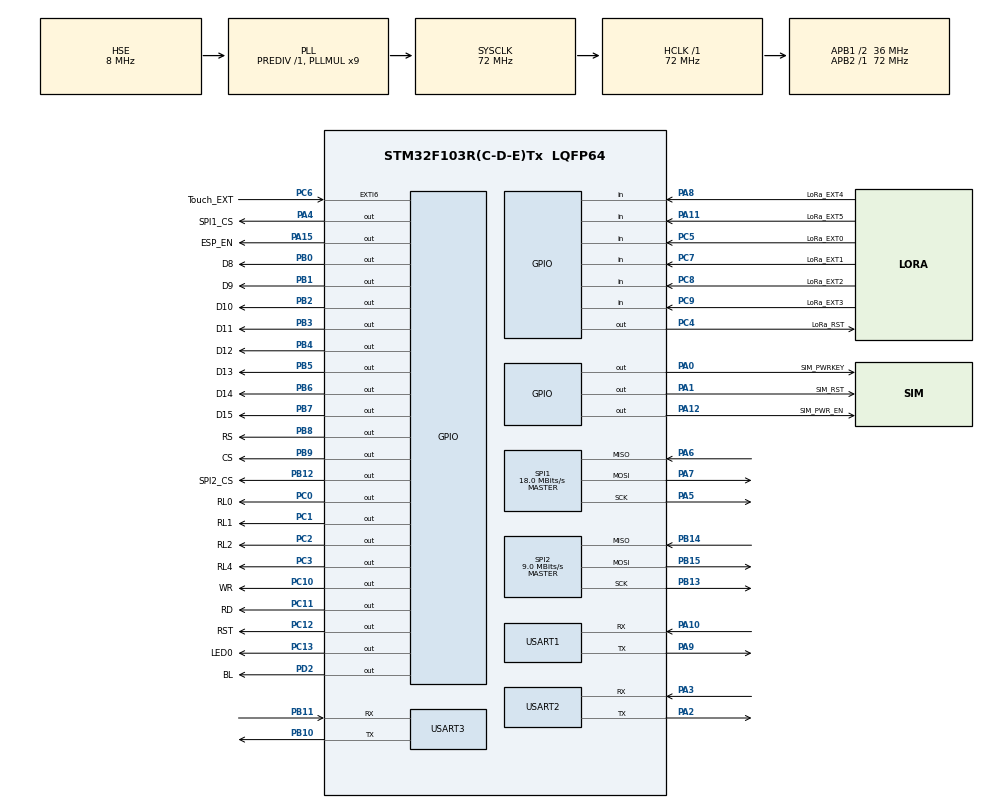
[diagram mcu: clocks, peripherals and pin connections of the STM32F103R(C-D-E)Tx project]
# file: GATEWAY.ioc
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FREERTOS.Tasks01=Task0,24,128,Task0Func,Default,NULL,Dynamic,NULL,NULL
FREERTOS.configUSE_NEWLIB_REENTRANT=0
Mcu.Family=STM32F1
Mcu.Name=STM32F103R(C-D-E)Tx
Mcu.Package=LQFP64
NVIC.EXTI9_5_IRQn=true\:5\:0\:false\:false\:true\:true\:true\:true\:true
NVIC.PriorityGroup=NVIC_PRIORITYGROUP_4
NVIC.SPI1_IRQn=true\:5\:0\:false\:false\:true\:true\:true\:true\:true
NVIC.SPI2_IRQn=true\:5\:0\:false\:false\:true\:true\:true\:true\:true
NVIC.TIM1_UP_IRQn=true\:15\:0\:false\:false\:true\:false\:false\:true\:true
NVIC.TimeBase=TIM1_UP_IRQn
NVIC.TimeBaseIP=TIM1
PA0-WKUP.GPIO_Label=SIM_PWRKEY
PA0-WKUP.Signal=GPIO_Output
PA1.GPIO_Label=SIM_RST
PA1.Signal=GPIO_Output
PA10.Mode=Asynchronous
PA10.Signal=USART1_RX
PA11.GPIO_Label=LoRa_EXT5
PA11.Signal=GPIO_Input
PA12.GPIO_Label=SIM_PWR_EN
PA12.Signal=GPIO_Output
PA13.Mode=Serial_Wire
PA13.Signal=SYS_JTMS-SWDIO
PA14.Mode=Serial_Wire
PA14.Signal=SYS_JTCK-SWCLK
PA15.GPIO_Label=ESP_EN
PA15.Signal=GPIO_Output
PA2.Mode=Asynchronous
PA2.Signal=USART2_TX
PA3.Mode=Asynchronous
PA3.Signal=USART2_RX
PA4.GPIO_Label=SPI1_CS
PA4.GPIO_Speed=GPIO_SPEED_FREQ_HIGH
PA4.Signal=GPIO_Output
PA5.Mode=Full_Duplex_Master
PA5.Signal=SPI1_SCK
PA6.Mode=Full_Duplex_Master
PA6.Signal=SPI1_MISO
PA7.Mode=Full_Duplex_Master
PA7.Signal=SPI1_MOSI
PA8.GPIO_Label=LoRa_EXT4
PA8.Signal=GPIO_Input
PA9.Mode=Asynchronous
PA9.Signal=USART1_TX
PB0.GPIO_Label=D8
PB0.GPIO_Speed=GPIO_SPEED_FREQ_HIGH
PB0.Signal=GPIO_Output
PB1.GPIO_Label=D9
PB1.GPIO_Speed=GPIO_SPEED_FREQ_HIGH
PB1.Signal=GPIO_Output
PB10.Mode=Asynchronous
PB10.Signal=USART3_TX
PB11.Mode=Asynchronous
PB11.Signal=USART3_RX
PB12.GPIO_Label=SPI2_CS
PB12.GPIO_Speed=GPIO_SPEED_FREQ_HIGH
PB12.Signal=GPIO_Output
PB13.Mode=Full_Duplex_Master
PB13.Signal=SPI2_SCK
PB14.Mode=Full_Duplex_Master
PB14.Signal=SPI2_MISO
PB15.Mode=Full_Duplex_Master
PB15.Signal=SPI2_MOSI
PB2.GPIO_Label=D10
PB2.GPIO_Speed=GPIO_SPEED_FREQ_HIGH
PB2.Signal=GPIO_Output
PB3.GPIO_Label=D11
PB3.GPIO_Speed=GPIO_SPEED_FREQ_HIGH
PB3.Signal=GPIO_Output
PB4.GPIO_Label=D12
PB4.GPIO_Speed=GPIO_SPEED_FREQ_HIGH
PB4.Signal=GPIO_Output
PB5.GPIO_Label=D13
PB5.GPIO_Speed=GPIO_SPEED_FREQ_HIGH
PB5.Signal=GPIO_Output
PB6.GPIO_Label=D14
PB6.GPIO_Speed=GPIO_SPEED_FREQ_HIGH
PB6.Signal=GPIO_Output
PB7.GPIO_Label=D15
PB7.GPIO_Speed=GPIO_SPEED_FREQ_HIGH
PB7.Signal=GPIO_Output
PB8.GPIO_Label=RS
PB8.GPIO_Speed=GPIO_SPEED_FREQ_HIGH
PB8.Signal=GPIO_Output
PB9.GPIO_Label=CS
PB9.GPIO_Speed=GPIO_SPEED_FREQ_HIGH
PB9.Signal=GPIO_Output
PC0.GPIO_Label=RL0
PC0.GPIO_Speed=GPIO_SPEED_FREQ_LOW
PC0.Signal=GPIO_Output
PC1.GPIO_Label=RL1
PC1.Signal=GPIO_Output
PC10.GPIO_Label=WR
PC10.GPIO_Speed=GPIO_SPEED_FREQ_HIGH
PC10.Signal=GPIO_Output
PC11.GPIO_Label=RD
PC11.GPIO_Speed=GPIO_SPEED_FREQ_HIGH
PC11.Signal=GPIO_Output
PC12.GPIO_Label=RST
PC12.GPIO_Speed=GPIO_SPEED_FREQ_HIGH
PC12.Signal=GPIO_Output
PC13-TAMPER-RTC.GPIO_Label=LED0
PC13-TAMPER-RTC.Signal=GPIO_Output
PC14-OSC32_IN.Mode=LSE-External-Oscillator
PC14-OSC32_IN.Signal=RCC_OSC32_IN
PC15-OSC32_OUT.Mode=LSE-External-Oscillator
PC15-OSC32_OUT.Signal=RCC_OSC32_OUT
PC2.GPIO_Label=RL2
PC2.Signal=GPIO_Output
PC3.GPIO_Label=RL4
PC3.Signal=GPIO_Output
PC4.GPIO_Label=LoRa_RST
PC4.GPIO_Speed=GPIO_SPEED_FREQ_HIGH
PC4.Signal=GPIO_Output
PC5.GPIO_Label=LoRa_EXT0
PC5.Signal=GPIO_Input
PC6.GPIO_Label=Touch_EXT
PC6.GPIO_ModeDefaultEXTI=GPIO_MODE_IT_RISING
PC6.GPIO_PuPd=GPIO_PULLDOWN
PC6.Signal=GPXTI6
PC7.GPIO_Label=LoRa_EXT1
PC7.Signal=GPIO_Input
PC8.GPIO_Label=LoRa_EXT2
PC8.Signal=GPIO_Input
PC9.GPIO_Label=LoRa_EXT3
PC9.Signal=GPIO_Input
PD0-OSC_IN.Mode=HSE-External-Oscillator
PD0-OSC_IN.Signal=RCC_OSC_IN
PD1-OSC_OUT.Mode=HSE-External-Oscillator
PD1-OSC_OUT.Signal=RCC_OSC_OUT
PD2.GPIO_Label=BL
PD2.GPIO_Speed=GPIO_SPEED_FREQ_LOW
PD2.Signal=GPIO_Output
ProjectManager.HeapSize=0x200
ProjectManager.StackSize=0x400
ProjectManager.TargetToolchain=Makefile
RCC.AHBFreq_Value=72000000
RCC.APB1CLKDivider=RCC_HCLK_DIV2
RCC.APB1Freq_Value=36000000
RCC.APB1TimFreq_Value=72000000
RCC.APB2Freq_Value=72000000
RCC.APB2TimFreq_Value=72000000
RCC.HCLKFreq_Value=72000000
RCC.PLLMUL=RCC_PLL_MUL9
RCC.PLLSourceVirtual=RCC_PLLSOURCE_HSE
RCC.RTCClockSelection=RCC_RTCCLKSOURCE_LSE
RCC.SYSCLKFreq_VALUE=72000000
RCC.SYSCLKSource=RCC_SYSCLKSOURCE_PLLCLK
RCC.USBFreq_Value=48000000
RCC.USBPrescaler=RCC_USBCLKSOURCE_PLL_DIV1_5
RTC.Format=RTC_FORMAT_BIN
SPI1.BaudRatePrescaler=SPI_BAUDRATEPRESCALER_4
SPI1.CalculateBaudRate=18.0 MBits/s
SPI1.Direction=SPI_DIRECTION_2LINES
SPI1.Mode=SPI_MODE_MASTER
SPI1.VirtualType=VM_MASTER
SPI2.BaudRatePrescaler=SPI_BAUDRATEPRESCALER_4
SPI2.CalculateBaudRate=9.0 MBits/s
SPI2.Direction=SPI_DIRECTION_2LINES
SPI2.Mode=SPI_MODE_MASTER
SPI2.VirtualType=VM_MASTER
USART1.VirtualMode=VM_ASYNC
USART2.VirtualMode=VM_ASYNC
USART3.VirtualMode=VM_ASYNC
VP_FREERTOS_VS_CMSIS_V2.Mode=CMSIS_V2
VP_RTC_No_RTC_Output.Mode=RTC_OUT_NO
VP_RTC_VS_RTC_Activate.Mode=RTC_Enabled
VP_RTC_VS_RTC_Calendar.Mode=RTC_Calendar
VP_SYS_VS_tim1.Mode=TIM1
board=custom

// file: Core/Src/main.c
/* USER CODE BEGIN Header */
/**
  ******************************************************************************
  * @file           : main.c
  * @brief          : Main program body
  ******************************************************************************
  * @attention
  *
  * Copyright (c) 2023 STMicroelectronics.
  * All rights reserved.
  *
  * This software is licensed under terms that can be found in the LICENSE file
  * in the root directory of this software component.
  * If no LICENSE file comes with this software, it is provided AS-IS.
  *
  ******************************************************************************
  */
/* USER CODE END Header */
#include "main.h"
#include "cmsis_os.h"
#include "rtc.h"
#include "spi.h"
#include "usart.h"
#include "gpio.h"

/* USER CODE BEGIN Includes */
#include <stdio.h>
#include <stdint.h>
#include <string.h>
#include <stdlib.h>
#include <math.h>
#include <stdbool.h>
#include <time.h>

#include "main.h"
#include "cmsis_os.h"
#include "i2c.h"
#include "spi.h"
#include "usart.h"
#include "usb_device.h"
#include "gpio.h"
#include "led.h"
#include "sx1278.h"
#include "common.h"
/* USER CODE END Includes */

void SystemClock_Config(void);
void MX_FREERTOS_Init(void);

/* USER CODE BEGIN 0 */
static const char *TAG = "MAIN";
gateway_mode_t mode = LOCAL;
gateway_cfg_mode_t cfg_mode = NOT_STATE;
//RTC_NOINIT_ATTR int gateway_mode_flag;
//httpd_handle_t server;
//RingbufHandle_t webserver_ring_buf;
/* USER CODE END 0 */

int main(void)
{

  /* MCU Configuration--------------------------------------------------------*/

  /* Reset of all peripherals, Initializes the Flash interface and the Systick. */
  HAL_Init();

  /* Configure the system clock */
  SystemClock_Config();

  /* Initialize all configured peripherals */
  MX_GPIO_Init();
  MX_SPI1_Init();
  MX_SPI2_Init();
  MX_USART2_UART_Init();
  MX_RTC_Init();
  MX_USART1_UART_Init();
  MX_USART3_UART_Init();
  /* USER CODE BEGIN 2 */
//  sx1278_node.node_id = 6;
//  char data_log[40];
//  sprintf(data_log, "node_id: %d", sx1278_node.node_id);
//  LOG(TAG,data_log);
  /* USER CODE END 2 */

  /* Init scheduler */
  osKernelInitialize();  /* Call init function for freertos objects (in freertos.c) */
  MX_FREERTOS_Init();

  /* Start scheduler */
  osKernelStart();
  /* We should never get here as control is now taken by the scheduler */
  /* Infinite loop */
  while (1)
  {

  }
}

void SystemClock_Config(void)
{
  RCC_OscInitTypeDef RCC_OscInitStruct = {0};
  RCC_ClkInitTypeDef RCC_ClkInitStruct = {0};
  RCC_PeriphCLKInitTypeDef PeriphClkInit = {0};

  /** Initializes the RCC Oscillators according to the specified parameters
  * in the RCC_OscInitTypeDef structure.
  */
  RCC_OscInitStruct.OscillatorType = RCC_OSCILLATORTYPE_HSE|RCC_OSCILLATORTYPE_LSE;
  RCC_OscInitStruct.HSEState = RCC_HSE_ON;
  RCC_OscInitStruct.HSEPredivValue = RCC_HSE_PREDIV_DIV1;
  RCC_OscInitStruct.LSEState = RCC_LSE_ON;
  RCC_OscInitStruct.HSIState = RCC_HSI_ON;
  RCC_OscInitStruct.PLL.PLLState = RCC_PLL_ON;
  RCC_OscInitStruct.PLL.PLLSource = RCC_PLLSOURCE_HSE;
  RCC_OscInitStruct.PLL.PLLMUL = RCC_PLL_MUL9;
  if (HAL_RCC_OscConfig(&RCC_OscInitStruct) != HAL_OK)
  {
    Error_Handler();
  }

  /** Initializes the CPU, AHB and APB buses clocks
  */
  RCC_ClkInitStruct.ClockType = RCC_CLOCKTYPE_HCLK|RCC_CLOCKTYPE_SYSCLK
                              |RCC_CLOCKTYPE_PCLK1|RCC_CLOCKTYPE_PCLK2;
  RCC_ClkInitStruct.SYSCLKSource = RCC_SYSCLKSOURCE_PLLCLK;
  RCC_ClkInitStruct.AHBCLKDivider = RCC_SYSCLK_DIV1;
  RCC_ClkInitStruct.APB1CLKDivider = RCC_HCLK_DIV2;
  RCC_ClkInitStruct.APB2CLKDivider = RCC_HCLK_DIV1;

  if (HAL_RCC_ClockConfig(&RCC_ClkInitStruct, FLASH_LATENCY_2) != HAL_OK)
  {
    Error_Handler();
  }
  PeriphClkInit.PeriphClockSelection = RCC_PERIPHCLK_RTC;
  PeriphClkInit.RTCClockSelection = RCC_RTCCLKSOURCE_LSE;
  if (HAL_RCCEx_PeriphCLKConfig(&PeriphClkInit) != HAL_OK)
  {
    Error_Handler();
  }
}

void HAL_TIM_PeriodElapsedCallback(TIM_HandleTypeDef *htim)
{
  if (htim->Instance == TIM1) {
    HAL_IncTick();
  }
}

void Error_Handler(void)
{
  __disable_irq();
  while (1)
  {
  }
}

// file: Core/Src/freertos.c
/* USER CODE BEGIN Header */
/**
  ******************************************************************************
  * File Name          : freertos.c
  * Description        : Code for freertos applications
  ******************************************************************************
  * @attention
  *
  * Copyright (c) 2023 STMicroelectronics.
  * All rights reserved.
  *
  * This software is licensed under terms that can be found in the LICENSE file
  * in the root directory of this software component.
  * If no LICENSE file comes with this software, it is provided AS-IS.
  *
  ******************************************************************************
  */
/* USER CODE END Header */

#include "FreeRTOS.h"
#include "task.h"
#include "main.h"
#include "cmsis_os.h"

/* USER CODE BEGIN Includes */
#include <stdio.h>
#include <stdint.h>
#include <string.h>
#include <stdlib.h>
#include <math.h>
#include <stdbool.h>
#include <time.h>
#include "sx1278.h"
#include "timers.h"
#include "event_groups.h"
#include "common.h"
/* USER CODE END Includes */

/* USER CODE BEGIN Variables */
static const char *TAG = "FREERTOS";
EventGroupHandle_t sx1278_evt_group;

/* USER CODE END Variables */
/* Definitions for Task0 */
osThreadId_t Task0Handle;
const osThreadAttr_t Task0_attributes = {
  .name = "Task0",
  .stack_size = 128 * 4,
  .priority = (osPriority_t) osPriorityNormal,
};

/* USER CODE BEGIN FunctionPrototypes */
void HAL_GPIO_EXTI_Callback(uint16_t GPIO_Pin)
{
	BaseType_t xHigherPriorityTaskWoken = pdFALSE;
	if(GPIO_Pin == GPIO_PIN_5)//PC5
	{
		xEventGroupSetBitsFromISR(sx1278_evt_group, SX1278_DIO0_BIT, &xHigherPriorityTaskWoken);
	}
}

//void sx1278_task(void *param)
//{
//	uint8_t data_send[128] = {0};
//	uint8_t data_recv[128] = {0};
//	float snr;//signal to noise ratio
//	int rssi; //received signal strength indication
//	EventBits_t evt_bits;
//	sx1278_init();
//	sx1278_evt_group = xEventGroupCreate();
//	float temp_test = 16.8;
//	float battery_test = 3.58;
//	float humid_test = 0.7;
//	float soil_test = 0.8;
//	float PH_test = 6.5;
//	while(1)
//	{
//		sx1278_start_recv_data();
//		evt_bits = xEventGroupWaitBits(sx1278_evt_group,SX1278_DIO0_BIT, pdTRUE, pdFALSE, portMAX_DELAY);
//		if(evt_bits & SX1278_DIO0_BIT)
//		{
//			if(sx1278_recv_data(data_recv, &rssi, &snr, &sx1278_node) == SX1278_OK)
//			{
//				char data_log[100];
//				char snr_arr[10];
//				ftoa((double)snr, snr_arr, 2);
//				sprintf(data_log, "Packet rssi: %d, snr: %s", rssi, snr_arr);
//				LOG(TAG, data_log);
//				ftoa((double)temp_test, sx1278_node.temp, 2);
//				ftoa((double)battery_test, sx1278_node.battery, 2);
//				ftoa((double)humid_test, sx1278_node.humid, 2);
//				ftoa((double)soil_test, sx1278_node.soil, 2);
//				ftoa((double)PH_test, sx1278_node.PH, 2);
//				listen_before_talk();
//				send_respond(UPLINK_TX_RESPOND_OPCODE, sx1278_node, data_send);
//			}
//			else
//			{
//
//			}
//		}
//	}
//}

void peripheral_task(void *param)
{
	while(1)
	{
		vTaskDelay(100 / portTICK_RATE_MS);
	}
}
/* USER CODE END FunctionPrototypes */

void Task0Func(void *argument);

void MX_FREERTOS_Init(void); /* (MISRA C 2004 rule 8.1) */

void MX_FREERTOS_Init(void) {

  /* Create the thread(s) */
  /* creation of Task0 */
  Task0Handle = osThreadNew(Task0Func, NULL, &Task0_attributes);

}

void Task0Func(void *argument)
{
  for(;;)
  {
    osDelay(1);
  }
}
